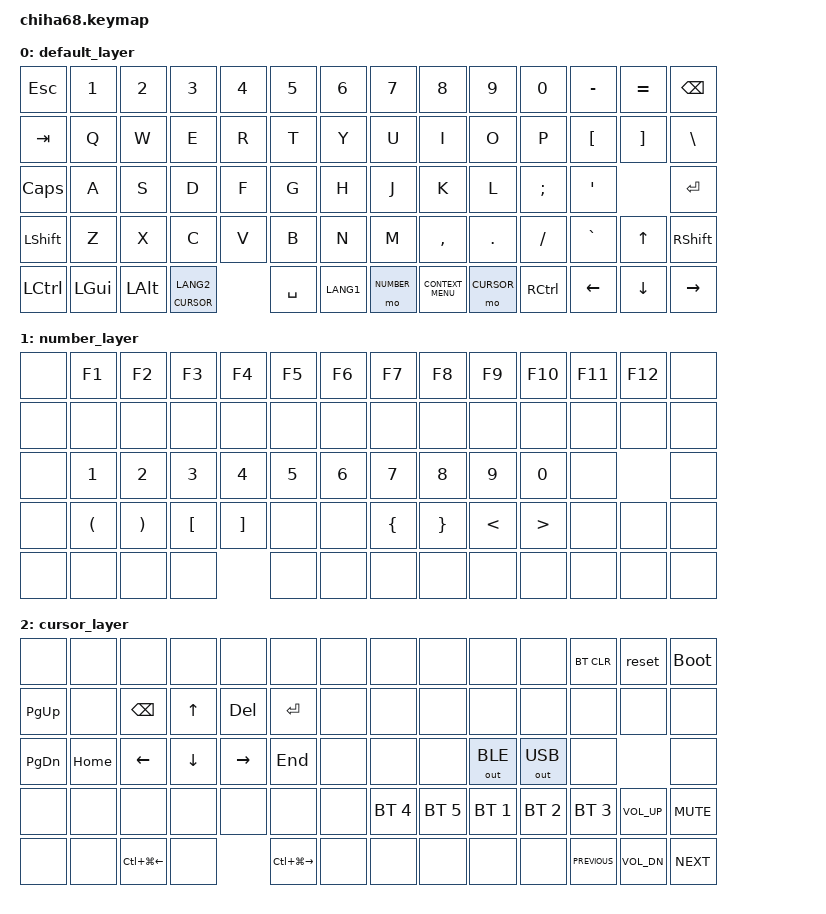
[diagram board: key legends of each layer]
#include <behaviors.dtsi>
#include <dt-bindings/zmk/keys.h>
#include <dt-bindings/zmk/bt.h>
#include <dt-bindings/zmk/outputs.h>

#define DEFAULT 0
#define NUMBER  1
#define CURSOR  2

/ {
    keymap {
        compatible = "zmk,keymap";

        default_layer {
            bindings = <
                &kp ESC       &kp N1        &kp N2        &kp N3        &kp N4           &kp N5        &kp N6        &kp N7        &kp N8             &kp N9         &kp N0         &kp MINUS        &kp EQUAL         &kp BSPC
                &kp TAB       &kp Q         &kp W         &kp E         &kp R            &kp T         &kp Y         &kp U         &kp I              &kp O          &kp P          &kp LEFT_BRACKET &kp RIGHT_BRACKET &kp BACKSLASH
                &kp CAPSLOCK  &kp A         &kp S         &kp D         &kp F            &kp G         &kp H         &kp J         &kp K              &kp L          &kp SEMICOLON  &kp SINGLE_QUOTE            &kp ENTER
                &kp LSHIFT    &kp Z         &kp X         &kp C         &kp V            &kp B         &kp N         &kp M         &kp COMMA          &kp PERIOD     &kp SLASH      &kp GRAVE        &kp UP            &kp RSHIFT
                &kp LCTRL     &kp LGUI      &kp LALT      &lt CURSOR LANG2         &kp SPC             &kp LANG1     &mo NUMBER &kp K_CONTEXT_MENU    &mo CURSOR     &kp RCTL       &kp LEFT         &kp DOWN          &kp RIGHT
            >;
        };
        number_layer {
            bindings = <
                &none &kp F1 &kp F2 &kp F3 &kp F4 &kp F5 &kp F6 &kp F7 &kp F8 &kp F9 &kp F10 &kp F11 &kp F12 &none 
                &none &none  &none  &none  &none  &none  &none  &none  &none  &none  &none   &none   &none   &none 
                &none &kp N1 &kp N2 &kp N3 &kp N4 &kp N5 &kp N6 &kp N7 &kp N8 &kp N9 &kp N0 &none        &none 
                &none &kp LEFT_PARENTHESIS &kp RIGHT_PARENTHESIS &kp LEFT_BRACKET &kp RIGHT_BRACKET &none &none &kp LEFT_BRACE &kp RIGHT_BRACE &kp LESS_THAN &kp GREATER_THAN &none &none &none 
                &none &none  &none  &none  &none      &none     &none  &none  &none  &none   &none   &none   &none
            >;
        };
        cursor_layer {
            bindings = <
                &none         &none    &none    &none    &none     &none     &none &none &none &none &none &bt BT_CLR &reset &bootloader
                &kp PAGE_UP   &none    &kp BSPC &kp UP   &kp DEL   &kp ENTER &none &none &none &none &none &none &none &none
                &kp PAGE_DOWN &kp HOME &kp LEFT &kp DOWN &kp RIGHT &kp END   &none &none &none &out OUT_BLE &out OUT_USB   &none &none
                &none  &none  &none    &none    &none    &none     &none     &bt BT_SEL 4 &bt BT_SEL 5 &bt BT_SEL 1 &bt BT_SEL 2 &bt BT_SEL 3 &kp  C_VOL_UP  &kp  C_MUTE
                &none &none &kp LC(LG(LEFT)) &none &kp LC(LG(RIGHT))    &none    &none &none &none &none &kp C_PREVIOUS &kp C_VOL_DN &kp C_NEXT 
            >;
        };
    };
};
